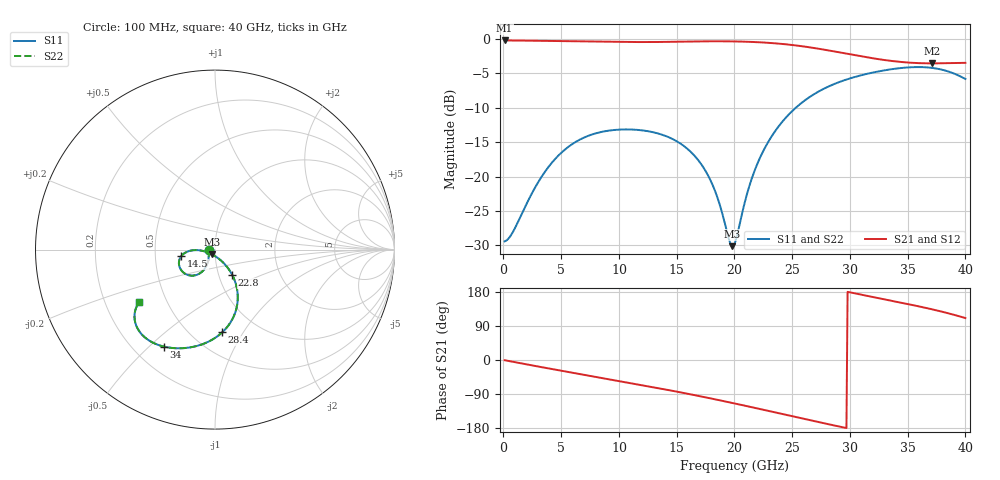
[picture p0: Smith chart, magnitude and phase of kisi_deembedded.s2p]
! C_s8_ap600: kisi-fdtd, de-embedded with the 2×thru
# Hz S RI R 50
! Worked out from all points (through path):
!   400 points, 100 MHz to 40 GHz, reference 50 ohm
!   highest |S21| = -0.20 dB at 100 MHz (marker M1); lowest = -3.5 dB at 37.1 GHz (marker M2)
!   group delay of S21, straight-line fit = 17.2 ps
!   lowest |S11| = -30.1 dB at 19.8 GHz (marker M3), VSWR 1.06, Z = 48.3 - j2.57 ohm
!   |S11| at or under -10 dB: start of sweep to 25.3 GHz
!   |S22| runs from -30.1 to -4.1 dB; largest |S21 - S12| = 3e-07
!   S11 on the Smith chart (normalised r, x): 100 MHz: 0.93, -0.00; 14.5 GHz: 0.68, -0.05; 22.8 GHz: 1.16, -0.34; 28.4 GHz: 0.69, -0.81; 34 GHz: 0.32, -0.56; 40 GHz: 0.35, -0.28
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1e8  -0.0338 -0.00247  0.9775 -0.00991  0.9775 -0.00991  -0.0338 -0.00247
8e8  -0.0339 -0.02  0.9738 -0.0791  0.9738 -0.0791  -0.0339 -0.02
3.8e9  -0.0539 -0.1013  0.9006 -0.3575  0.9006 -0.3575  -0.0539 -0.1013
6.8e9  -0.1219 -0.145  0.7559 -0.594  0.7559 -0.594  -0.1219 -0.145
9.9e9  -0.184 -0.1197  0.5465 -0.7821  0.5465 -0.7821  -0.184 -0.1197
1.34e10  -0.1982 -0.056  0.2584 -0.9171  0.2584 -0.9171  -0.1982 -0.056
1.45e10  -0.1871 -0.0355  0.1574 -0.9423  0.1574 -0.9423  -0.1871 -0.0355
1.62e10  -0.1516 -0.0105  -0.00919 -0.9603  -0.00919 -0.9603  -0.1516 -0.0105
1.76e10  -0.1064 -0.00269  -0.1535 -0.9512  -0.1535 -0.9512  -0.1064 -0.00269
1.85e10  -0.0714 -0.00648  -0.2474 -0.9319  -0.2474 -0.9319  -0.0714 -0.00648
1.98e10  -0.0164 -0.0266  -0.3802 -0.8842  -0.3802 -0.8842  -0.0164 -0.0266
2.01e10  -0.00358 -0.0338  -0.41 -0.8697  -0.41 -0.8697  -0.00358 -0.0338
2.14e10  0.0497 -0.0766  -0.5318 -0.7928  -0.5318 -0.7928  0.0497 -0.0766
2.28e10  0.0964 -0.1418  -0.6456 -0.6853  -0.6456 -0.6853  0.0964 -0.1418
2.45e10  0.1257 -0.2404  -0.7493 -0.5267  -0.7493 -0.5267  0.1257 -0.2404
2.67e10  0.1032 -0.3746  -0.8139 -0.2981  -0.8139 -0.2981  0.1032 -0.3746
2.84e10  0.0405 -0.4606  -0.8107 -0.1258  -0.8107 -0.1258  0.0405 -0.4606
3.09e10  -0.0958 -0.5354  -0.7458 0.0928  -0.7458 0.0928  -0.0958 -0.5354
3.34e10  -0.248 -0.547  -0.6446 0.2658  -0.6446 0.2658  -0.248 -0.547
3.4e10  -0.2833 -0.5407  -0.6178 0.3024  -0.6178 0.3024  -0.2833 -0.5407
3.71e10  -0.4282 -0.4453  -0.4618 0.4803  -0.4618 0.4803  -0.4282 -0.4453
4e10  -0.422 -0.2915  -0.2375 0.6287  -0.2375 0.6287  -0.422 -0.2915
